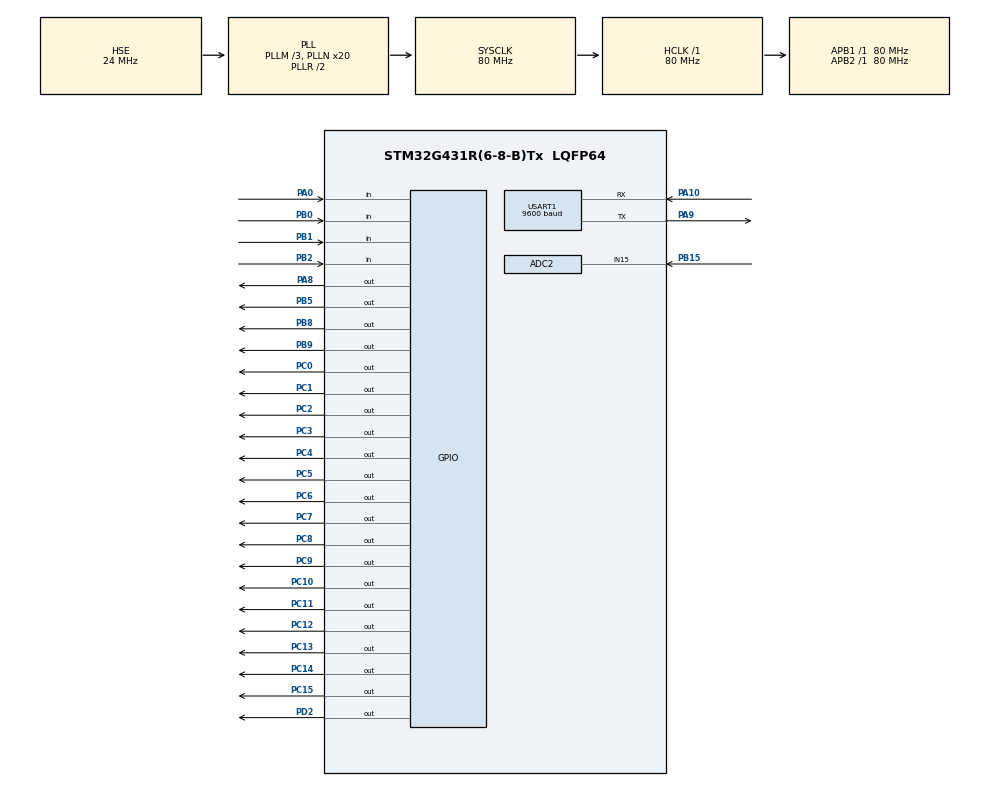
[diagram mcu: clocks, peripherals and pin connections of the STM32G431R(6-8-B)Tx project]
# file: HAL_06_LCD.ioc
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ADC2.Channel-0\#ChannelRegularConversion=ADC_CHANNEL_15
ADC2.ClockPrescaler=ADC_CLOCK_ASYNC_DIV128
ADC2.NbrOfConversionFlag=1
ADC2.OffsetNumber-0\#ChannelRegularConversion=ADC_OFFSET_NONE
ADC2.Rank-0\#ChannelRegularConversion=1
ADC2.SamplingTime-0\#ChannelRegularConversion=ADC_SAMPLETIME_2CYCLES_5
Mcu.Family=STM32G4
Mcu.Name=STM32G431R(6-8-B)Tx
Mcu.Package=LQFP64
NVIC.PriorityGroup=NVIC_PRIORITYGROUP_4
NVIC.TIM1_BRK_TIM15_IRQn=true\:2\:0\:true\:false\:true\:true\:true\:true
NVIC.TIM7_IRQn=true\:1\:0\:true\:false\:true\:true\:true\:true
NVIC.USART1_IRQn=true\:0\:0\:false\:false\:true\:true\:true\:true
PA0.GPIO_Mode=GPIO_MODE_INPUT
PA0.GPIO_PuPd=GPIO_PULLUP
PA0.Signal=GPIO_Input
PA10.Mode=Asynchronous
PA10.Signal=USART1_RX
PA13.Mode=Serial_Wire
PA13.Signal=SYS_JTMS-SWDIO
PA14.Mode=Serial_Wire
PA14.Signal=SYS_JTCK-SWCLK
PA8.Signal=GPIO_Output
PA9.Mode=Asynchronous
PA9.Signal=USART1_TX
PB0.GPIO_Mode=GPIO_MODE_INPUT
PB0.GPIO_PuPd=GPIO_PULLUP
PB0.Signal=GPIO_Input
PB1.GPIO_Mode=GPIO_MODE_INPUT
PB1.GPIO_PuPd=GPIO_PULLUP
PB1.Signal=GPIO_Input
PB15.Mode=IN15-Single-Ended
PB15.Signal=ADC2_IN15
PB2.GPIO_Mode=GPIO_MODE_INPUT
PB2.GPIO_PuPd=GPIO_PULLUP
PB2.Signal=GPIO_Input
PB5.Signal=GPIO_Output
PB8-BOOT0.Signal=GPIO_Output
PB9.Signal=GPIO_Output
PC0.Signal=GPIO_Output
PC1.Signal=GPIO_Output
PC10.PinState=GPIO_PIN_SET
PC10.Signal=GPIO_Output
PC11.PinState=GPIO_PIN_SET
PC11.Signal=GPIO_Output
PC12.PinState=GPIO_PIN_SET
PC12.Signal=GPIO_Output
PC13.PinState=GPIO_PIN_SET
PC13.Signal=GPIO_Output
PC14-OSC32_IN.PinState=GPIO_PIN_SET
PC14-OSC32_IN.Signal=GPIO_Output
PC15-OSC32_OUT.PinState=GPIO_PIN_SET
PC15-OSC32_OUT.Signal=GPIO_Output
PC2.Signal=GPIO_Output
PC3.Signal=GPIO_Output
PC4.Signal=GPIO_Output
PC5.Signal=GPIO_Output
PC6.Signal=GPIO_Output
PC7.Signal=GPIO_Output
PC8.PinState=GPIO_PIN_SET
PC8.Signal=GPIO_Output
PC9.PinState=GPIO_PIN_SET
PC9.Signal=GPIO_Output
PD2.PinState=GPIO_PIN_SET
PD2.Signal=GPIO_Output
PF0-OSC_IN.Mode=HSE-External-Oscillator
PF0-OSC_IN.Signal=RCC_OSC_IN
PF1-OSC_OUT.Mode=HSE-External-Oscillator
PF1-OSC_OUT.Signal=RCC_OSC_OUT
ProjectManager.HeapSize=0x200
ProjectManager.StackSize=0x400
ProjectManager.TargetToolchain=MDK-ARM V5.27
RCC.ADC12Freq_Value=80000000
RCC.AHBFreq_Value=80000000
RCC.APB1Freq_Value=80000000
RCC.APB1TimFreq_Value=80000000
RCC.APB2Freq_Value=80000000
RCC.APB2TimFreq_Value=80000000
RCC.CortexFreq_Value=80000000
RCC.EXTERNAL_CLOCK_VALUE=12288000
RCC.HCLKFreq_Value=80000000
RCC.HSE_VALUE=24000000
RCC.HSI48_VALUE=48000000
RCC.HSI_VALUE=16000000
RCC.LSE_VALUE=32768
RCC.PLLM=RCC_PLLM_DIV3
RCC.PLLN=20
RCC.PLLSourceVirtual=RCC_PLLSOURCE_HSE
RCC.SYSCLKFreq_VALUE=80000000
RCC.SYSCLKSource=RCC_SYSCLKSOURCE_PLLCLK
RCC.USBFreq_Value=80000000
RCC.VCOOutputFreq_Value=160000000
TIM15.PeriodNoDither=1000-1
TIM15.Prescaler=800-1
TIM7.PeriodNoDither=1000-1
TIM7.Prescaler=80-1
USART1.BaudRate=9600
USART1.VirtualMode-Asynchronous=VM_ASYNC
VP_SYS_VS_DBSignals.Mode=DisableDeadBatterySignals
VP_TIM15_VS_ClockSourceINT.Mode=Internal
VP_TIM7_VS_ClockSourceINT.Mode=Enable_Timer
board=custom

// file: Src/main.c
/* USER CODE BEGIN Header */
/**
  ******************************************************************************
  * @file           : main.c
  * @brief          : Main program body
  ******************************************************************************
  * @attention
  *
  * <h2><center>&copy; Copyright (c) 2021 STMicroelectronics.
  * All rights reserved.</center></h2>
  *
  * This software component is licensed by ST under BSD 3-Clause license,
  * the "License"; You may not use this file except in compliance with the
  * License. You may obtain a copy of the License at:
  *                        opensource.org/licenses/BSD-3-Clause
  *
  ******************************************************************************
  */
/* USER CODE END Header */
#include "main.h"
#include "adc.h"
#include "tim.h"
#include "usart.h"
#include "gpio.h"

/* USER CODE BEGIN Includes */
#include "headfile.h"

/* USER CODE END Includes */

void SystemClock_Config(void);

int main(void)
{

  /* MCU Configuration--------------------------------------------------------*/

  /* Reset of all peripherals, Initializes the Flash interface and the Systick. */
  HAL_Init();

  /* Configure the system clock */
  SystemClock_Config();

  /* Initialize all configured peripherals */
  MX_GPIO_Init();
  MX_ADC2_Init();
  MX_TIM7_Init();
  MX_TIM15_Init();
  MX_USART1_UART_Init();
  /* USER CODE BEGIN 2 */
	HAL_GPIO_WritePin(GPIOD, GPIO_PIN_2, GPIO_PIN_RESET);
	led_show(1,0);
	led_show(2,0);
	led_show(3,0);
	led_show(4,0);
	led_show(5,0);
	led_show(6,0);
	led_show(7,0);
	led_show(8,0);

	//led_show(1,1);//

	LCD_Init();
	LCD_Clear(Black);
	LCD_SetBackColor(Black);
	LCD_SetTextColor(White);

	HAL_TIM_Base_Start_IT(&htim7);
	HAL_UART_Receive_IT(&huart1, &rec_data, 1);
  /* USER CODE END 2 */

  /* Infinite loop */
  /* USER CODE BEGIN WHILE */
    while (1)
    {
			while_fun();
    /* USER CODE END WHILE */

    }
}

void SystemClock_Config(void)
{
  RCC_OscInitTypeDef RCC_OscInitStruct = {0};
  RCC_ClkInitTypeDef RCC_ClkInitStruct = {0};

  /** Configure the main internal regulator output voltage
  */
  HAL_PWREx_ControlVoltageScaling(PWR_REGULATOR_VOLTAGE_SCALE1);

  /** Initializes the RCC Oscillators according to the specified parameters
  * in the RCC_OscInitTypeDef structure.
  */
  RCC_OscInitStruct.OscillatorType = RCC_OSCILLATORTYPE_HSE;
  RCC_OscInitStruct.HSEState = RCC_HSE_ON;
  RCC_OscInitStruct.PLL.PLLState = RCC_PLL_ON;
  RCC_OscInitStruct.PLL.PLLSource = RCC_PLLSOURCE_HSE;
  RCC_OscInitStruct.PLL.PLLM = RCC_PLLM_DIV3;
  RCC_OscInitStruct.PLL.PLLN = 20;
  RCC_OscInitStruct.PLL.PLLP = RCC_PLLP_DIV2;
  RCC_OscInitStruct.PLL.PLLQ = RCC_PLLQ_DIV2;
  RCC_OscInitStruct.PLL.PLLR = RCC_PLLR_DIV2;
  if (HAL_RCC_OscConfig(&RCC_OscInitStruct) != HAL_OK)
  {
    Error_Handler();
  }

  /** Initializes the CPU, AHB and APB buses clocks
  */
  RCC_ClkInitStruct.ClockType = RCC_CLOCKTYPE_HCLK|RCC_CLOCKTYPE_SYSCLK
                              |RCC_CLOCKTYPE_PCLK1|RCC_CLOCKTYPE_PCLK2;
  RCC_ClkInitStruct.SYSCLKSource = RCC_SYSCLKSOURCE_PLLCLK;
  RCC_ClkInitStruct.AHBCLKDivider = RCC_SYSCLK_DIV1;
  RCC_ClkInitStruct.APB1CLKDivider = RCC_HCLK_DIV1;
  RCC_ClkInitStruct.APB2CLKDivider = RCC_HCLK_DIV1;

  if (HAL_RCC_ClockConfig(&RCC_ClkInitStruct, FLASH_LATENCY_2) != HAL_OK)
  {
    Error_Handler();
  }
}

void Error_Handler(void)
{
}
